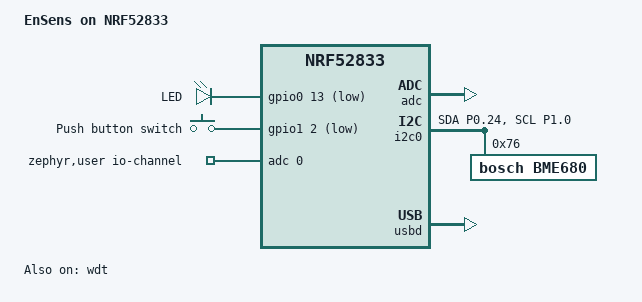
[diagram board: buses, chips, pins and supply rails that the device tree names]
/*
 * Copyright (c) 2025 Grovety Inc
 *
 * SPDX-License-Identifier: Apache-2.0
 */

/dts-v1/;
#include <nordic/nrf52833_qiaa.dtsi>
#include <zephyr/dt-bindings/input/input-event-codes.h>

/ {
	model = "EnSens on NRF52833";
	compatible = "grovety,ensens-nrf52833";

	soc {
		compatible = "nordic,nrf52833",
					 "nordic,nrf52", "simple-bus";
	};

	chosen {
		zephyr,sram = &sram0;
		zephyr,flash = &flash0;
		zephyr,code-partition = &slot0_partition;
	};

	leds {
		compatible = "gpio-leds";
		led0: led_0 {
			gpios = <&gpio0 13 GPIO_ACTIVE_LOW>;
			label = "LED";
		};
	};

	buttons {
		compatible = "gpio-keys";
		button0: button_0 {
			gpios = <&gpio1 2 (GPIO_PULL_UP | GPIO_ACTIVE_LOW)>;
			label = "Push button switch";
		};
	};

	/* These aliases are provided for compatibility with samples */
	aliases {
		led0 = &led0;
		watchdog0 = &wdt0;
		i2c0 = &i2c0;
	};

	zephyr,user {
		io-channels = <&adc 0>;
	};
};

&adc {
	status = "okay";
};

&uicr {
	gpio-as-nreset;
};

&gpiote {
	status = "okay";
};

&gpio0 {
	status = "okay";
};

&gpio1 {
	status = "okay";
};


&i2c0 {

	status = "okay";
	compatible = "nordic,nrf-twim";
	pinctrl-0 = <&i2c0_default>;
	pinctrl-1 = <&i2c0_sleep>;
	pinctrl-names = "default", "sleep";
	bme680: bme680@76 {
		compatible = "bosch,bme680";
		reg = <0x76>;
	};
};

&pinctrl {
	i2c0_default: i2c0_default {
		group1 {
			psels = <NRF_PSEL(TWIM_SDA, 0, 24)>,
					<NRF_PSEL(TWIM_SCL, 1, 0)>;
		};
	};

	i2c0_sleep: i2c0_sleep {
		group1 {
			psels = <NRF_PSEL(TWIM_SDA, 0, 24)>,
					<NRF_PSEL(TWIM_SCL, 1, 0)>;
			low-power-enable;
		};
	};
};

&flash0 {
	partitions {
		compatible = "fixed-partitions";
		#address-cells = <1>;
		#size-cells = <1>;

		boot_partition: partition@0 {
			label = "mcuboot";
			reg = <0x00000000 0xC000>;
		};
		slot0_partition: partition@c000 {
			label = "image-0";
			reg = <0x0000C000 0x37000>;
		};
		slot1_partition: partition@43000 {
			label = "image-1";
			reg = <0x00043000 0x37000>;
		};
		storage_partition: partition@7a000 {
			label = "storage";
			reg = <0x0007A000 0x00006000>;
		};
	};
};

&wdt {
	status = "okay";
};

zephyr_udc0: &usbd {
	compatible = "nordic,nrf-usbd";
	status = "okay";
};
